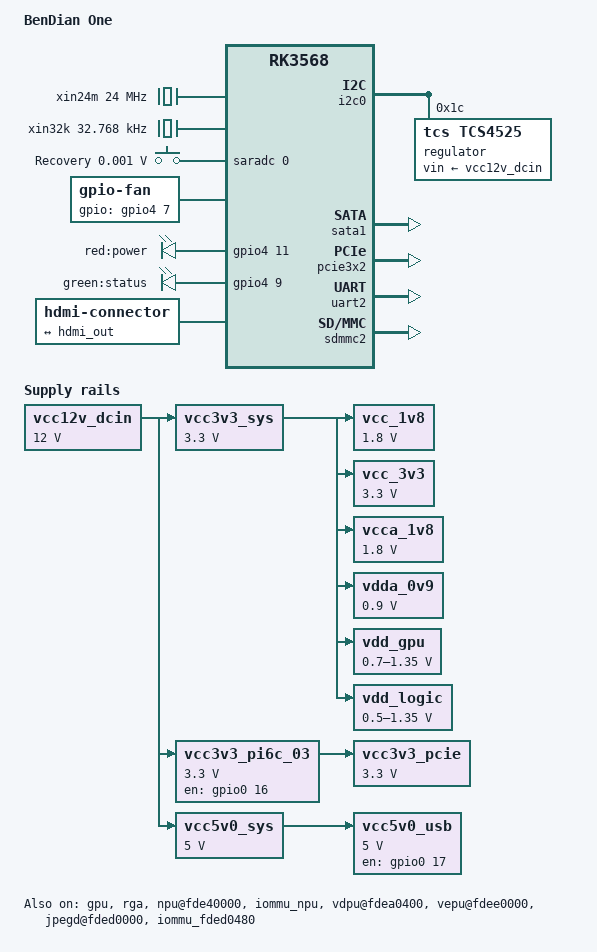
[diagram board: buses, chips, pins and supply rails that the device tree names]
// SPDX-License-Identifier: (GPL-2.0+ OR MIT)
/*
 * Copyright (c) 2024 hqnicolas <hqnicolas@msn.com>
 */

/dts-v1/;

#include <dt-bindings/gpio/gpio.h>
#include <dt-bindings/input/input.h>
#include <dt-bindings/pinctrl/rockchip.h>
#include <dt-bindings/soc/rockchip,vop2.h>
#include "rk3568.dtsi"

/ {
	interrupt-parent = <&gic>;
	#address-cells = <0x02>;
	#size-cells = <0x02>;
	compatible = "bendian,bd-one","rockchip,rk3568";
	model = "BenDian One";

	aliases {
		gpio0 = "/pinctrl/gpio@fdd60000";
		gpio1 = "/pinctrl/gpio@fe740000";
		gpio2 = "/pinctrl/gpio@fe750000";
		gpio3 = "/pinctrl/gpio@fe760000";
		gpio4 = "/pinctrl/gpio@fe770000";
		i2c0 = "/i2c@fdd40000";
		i2c1 = "/i2c@fe5a0000";
		i2c2 = "/i2c@fe5b0000";
		i2c3 = "/i2c@fe5c0000";
		i2c4 = "/i2c@fe5d0000";
		i2c5 = "/i2c@fe5e0000";
		serial0 = "/serial@fdd50000";
		serial1 = "/serial@fe650000";
		serial2 = "/serial@fe660000";
		serial3 = "/serial@fe670000";
		serial4 = "/serial@fe680000";
		serial5 = "/serial@fe690000";
		serial6 = "/serial@fe6a0000";
		serial7 = "/serial@fe6b0000";
		serial8 = "/serial@fe6c0000";
		serial9 = "/serial@fe6d0000";
		spi0 = "/spi@fe610000";
		spi1 = "/spi@fe620000";
		spi2 = "/spi@fe630000";
		spi3 = "/spi@fe640000";
		ethernet0 = "/ethernet@fe010000";
		mmc0 = "/mmc@fe310000";
		led-boot = "/gpio-leds/led-0";
		led-failsafe = "/gpio-leds/led-0";
		led-running = "/gpio-leds/led-0";
		led-upgrade = "/gpio-leds/led-0";
	};

	reserved-memory {
		#address-cells = <2>;
		#size-cells = <2>;
		ranges;

		rknpu: rknpu {
			compatible = "shared-dma-pool";
			reusable;
			size = <0x0 0x20000000>;
		};

		linux,cma {
			compatible = "shared-dma-pool";
			reusable;
			size = <0x0 0x10000000>;
			linux,cma-default;
		};

		ramoops@110000 {
			compatible = "ramoops";
			reg = <0x00 0x110000 0x00 0xf0000>;
			record-size = <0x20000>;
			console-size = <0x80000>;
			ftrace-size = <0x00>;
			pmsg-size = <0x50000>;
		};
	};

	cpus {
		#address-cells = <0x02>;
		#size-cells = <0x00>;
		cpu@0 {
			device_type = "cpu";
			compatible = "arm,cortex-a55";
			reg = <0x00 0x00>;
			clocks = <&scmi_clk 0>;
			#cooling-cells = <0x02>;
			enable-method = "psci";
			operating-points-v2 = <&opp_table0>;
			cpu-supply = <&vdd_cpu>;
		};
		cpu@100 {
			device_type = "cpu";
			compatible = "arm,cortex-a55";
			reg = <0x00 0x100>;
			#cooling-cells = <0x02>;
			enable-method = "psci";
			operating-points-v2 = <&opp_table0>;
			cpu-supply = <&vdd_cpu>;
		};
		cpu@200 {
			device_type = "cpu";
			compatible = "arm,cortex-a55";
			reg = <0x00 0x200>;
			#cooling-cells = <0x02>;
			enable-method = "psci";
			operating-points-v2 = <&opp_table0>;
			cpu-supply = <&vdd_cpu>;
		};
		cpu@300 {
			device_type = "cpu";
			compatible = "arm,cortex-a55";
			reg = <0x00 0x300>;
			#cooling-cells = <0x02>;
			enable-method = "psci";
			operating-points-v2 = <&opp_table0>;
			cpu-supply = <&vdd_cpu>;
		};
	};

	l3_cache: l3-cache {
		compatible = "cache";
		cache-level = <0x02>;
		cache-unified;
		cache-size = <0x80000>;
		cache-line-size = <0x40>;
	};

	opp_table0: opp-table-0 {
		compatible = "operating-points-v2";
		opp-shared;
		opp-408000000 {
			opp-hz = /bits/ 64 <408000000>;
			opp-microvolt = <900000 900000 1200000>;
			clock-latency-ns = <40000>;
		};
		opp-600000000 {
			opp-hz = /bits/ 64 <600000000>;
			opp-microvolt = <900000 900000 1200000>;
		};
		opp-816000000 {
			opp-hz = /bits/ 64 <816000000>;
			opp-microvolt = <900000 900000 1200000>;
			opp-suspend;
		};
		opp-1104000000 {
			opp-hz = /bits/ 64 <1104000000>;
			opp-microvolt = <900000 900000 1200000>;
		};
		opp-1416000000 {
			opp-hz = /bits/ 64 <1416000000>;
			opp-microvolt = <900000 900000 1200000>;
		};
		opp-1608000000 {
			opp-hz = /bits/ 64 <1608000000>;
			opp-microvolt = <950000 950000 1200000>;
		};
		opp-1800000000 {
			opp-hz = /bits/ 64 <1800000000>;
			opp-microvolt = <1050000 1050000 1200000>;
		};
		opp-1992000000 {
			opp-hz = /bits/ 64 <1992000000>;
			opp-microvolt = <1200000 1200000 1200000>;
		};
	};

	display-subsystem {
		compatible = "rockchip,display-subsystem";
		ports = <&vop_ports>;
	};

	firmware {
		scmi {
			compatible = "arm,scmi-smc";
			arm,smc-id = <0x82000010>;
			shmem = <&scmi_shmem>;
			#address-cells = <0x01>;
			#size-cells = <0x00>;
			protocol@14 {
				reg = <0x14>;
				#clock-cells = <0x01>;
			};
		};
	};

	opp_table1: opp-table-1 {
		compatible = "operating-points-v2";
		mbist-vmin = <820000 900000 950000>;
		rockchip,supported-hw;
		rockchip,max-volt = <1000000>;
		rockchip,temp-hysteresis = <5000>;
		rockchip,low-temp = <0>;
		rockchip,low-temp-adjust-volt = <0 1000 800000>;
		rockchip,pvtm-voltage-sel = <0 830000 0 830001 880000 1 880001 900000 2 900001 950000 3>;
		rockchip,pvtm-ch = <0 5>;
		opp-200000000 {
			opp-hz = /bits/64 <200000000>;
			opp-microvolt = <840000 840000 1000000>;
			opp-supported-hw = <0xfb 0xffff>;
		};
		opp-300000000 {
			opp-hz = /bits/64 <300000000>;
			opp-microvolt = <840000 840000 1000000>;
			opp-supported-hw = <0xfb 0xffff>;
		};
		opp-400000000 {
			opp-hz = /bits/64 <400000000>;
			opp-microvolt = <840000 840000 1000000>;
			opp-supported-hw = <0xfb 0xffff>;
		};
		opp-600000000 {
			opp-hz = /bits/64 <600000000>;
			opp-microvolt = <900000 900000 1000000>;
			opp-supported-hw = <0xfb 0xffff>;
			opp-microvolt-L0 = <900000 900000 1000000>;
			opp-microvolt-L1 = <870000 870000 1000000>;
			opp-microvolt-L2 = <840000 840000 1000000>;
			opp-microvolt-L3 = <840000 840000 1000000>;
		};
		opp-700000000 {
			opp-hz = /bits/64 <700000000>;
			opp-microvolt = <950000 950000 1000000>;
			opp-supported-hw = <0xfb 0xffff>;
			opp-microvolt-L0 = <950000 950000 1000000>;
			opp-microvolt-L1 = <920000 920000 1000000>;
			opp-microvolt-L2 = <900000 900000 1000000>;
			opp-microvolt-L3 = <870000 870000 1000000>;
		};
		opp-800000000 {
			opp-hz = /bits/64 <800000000>;
			opp-microvolt = <1000000 1000000 1000000>;
			opp-supported-hw = <0xf9 0xffff>;
			opp-microvolt-L0 = <1000000 1000000 1000000>;
			opp-microvolt-L1 = <950000 950000 1000000>;
			opp-microvolt-L2 = <950000 950000 1000000>;
			opp-microvolt-L3 = <920000 920000 1000000>;
		};
	};

	hdmi-sound {
		compatible = "simple-audio-card";
		simple-audio-card,name = "HDMI";
		simple-audio-card,format = "i2s";
		simple-audio-card,mclk-fs = <256>;
		status = "okay";
		simple-audio-card,codec {
			sound-dai = <&hdmi>;
		};
		simple-audio-card,cpu {
			sound-dai = <&i2s0_8ch>;
		};
	};

	pmu {
		compatible = "arm,cortex-a55-pmu";
		interrupts = <GIC_SPI 228 IRQ_TYPE_LEVEL_HIGH>,
			     <GIC_SPI 229 IRQ_TYPE_LEVEL_HIGH>,
			     <GIC_SPI 230 IRQ_TYPE_LEVEL_HIGH>,
			     <GIC_SPI 231 IRQ_TYPE_LEVEL_HIGH>;
		interrupt-affinity = <&cpu0>, <&cpu1>, <&cpu2>, <&cpu3>;
	};

	psci {
		compatible = "arm,psci-1.0";
		method = "smc";
	};

	timer {
		compatible = "arm,armv8-timer";
		interrupts = <GIC_PPI 13 (GIC_CPU_MASK_SIMPLE(4) | IRQ_TYPE_LEVEL_LOW)>,
			     <GIC_PPI 14 (GIC_CPU_MASK_SIMPLE(4) | IRQ_TYPE_LEVEL_LOW)>,
			     <GIC_PPI 11 (GIC_CPU_MASK_SIMPLE(4) | IRQ_TYPE_LEVEL_LOW)>,
			     <GIC_PPI 10 (GIC_CPU_MASK_SIMPLE(4) | IRQ_TYPE_LEVEL_LOW)>;
		arm,no-tick-in-suspend;
	};

	xin24m {
		compatible = "fixed-clock";
		clock-frequency = <24000000>;
		clock-output-names = "xin24m";
		#clock-cells = <0x00>;
	};

	xin32k {
		compatible = "fixed-clock";
		clock-frequency = <32768>;
		pinctrl-0 = <&clk32k_in>;
		pinctrl-names = "default";
		#clock-cells = <0x00>;
	};

	sram@10f000 {
		compatible = "mmio-sram";
		reg = <0x00 0x10f000 0x00 0x100>;
		#address-cells = <0x01>;
		#size-cells = <0x01>;
		ranges = <0x00 0x00 0x10f000 0x100>;
		scmi_shmem: sram@0 {
			compatible = "arm,scmi-shmem";
			reg = <0x00 0x100>;
		};
	};

	npu@fde40000 {
		compatible = "rockchip,rk3568-rknpu", "rockchip,rknpu";
		reg = <0x0 0xfde40000 0x0 0x10000>;
		interrupts = <GIC_SPI 151 IRQ_TYPE_LEVEL_HIGH>;
		clocks = <&scmi_clk 2>, <&cru CLK_NPU>, <&cru ACLK_NPU>, <&cru HCLK_NPU>;
		clock-names = "scmi_clk", "clk", "aclk", "hclk";
		assigned-clocks = <&cru CLK_NPU>;
		assigned-clock-rates = <600000000>;
		resets = <&cru SRST_NPU_A>, <&cru SRST_NPU_H>;
		reset-names = "srst_a", "srst_h";
		power-domains = <&power RK3568_PD_NPU>;
		iommus = <&iommu_npu>;
		iommu-cells = <0>;
		memory-region = <&rknpu>;
		status = "okay";
	};

	iommu_npu: iommu@fde4b0000 {
		compatible = "rockchip,rk3568-iommu";
		reg = <0x0 0xfde4b000 0x0 0x40>;
		interrupts = <GIC_SPI 150 IRQ_TYPE_LEVEL_HIGH>;
		clocks = <&cru ACLK_NPU>, <&cru HCLK_NPU>;
		clock-names = "aclk", "iface";
		power-domains = <&power RK3568_PD_NPU>;
		#iommu-cells = <0>;
		status = "okay";
	};

	vdpu@fdea0400 {
		compatible = "rockchip,rk3568-vdpu";
		reg = <0x0 0xfdea0400 0x0 0x4000>;
		interrupts = <GIC_SPI 139 IRQ_TYPE_LEVEL_HIGH>;
		clocks = <&cru CLK_VDPU>, <&cru CLK_VDPU_AXI>;
		clock-names = "core", "axi";
		power-domains = <&power RK3568_PD_VCODEC>;
		iommus = <&iommu@fdea0800>;
		iommu-cells = <0>;
		status = "okay";
	};

	vepu@fdee0000 {
		compatible = "rockchip,rk3568-vepu";
		reg = <0x0 0xfdee0000 0x0 0x10000>;
		interrupts = <GIC_SPI 140 IRQ_TYPE_LEVEL_HIGH>;
		clocks = <&cru CLK_VEPU>, <&cru CLK_VEPU_AXI>;
		clock-names = "core", "axi";
		power-domains = <&power RK3568_PD_VCODEC>;
		iommus = <&iommu@fdee0800>;
		iommu-cells = <0>;
		status = "okay";
	};

	jpegd@fded0000 {
		compatible = "rockchip,rk3568-jpeg-dec";
		reg = <0x0 0xfded0000 0x0 0x400>;
		interrupts = <GIC_SPI 62 IRQ_TYPE_LEVEL_HIGH>;
		clocks = <&cru CLK_JPEGD>, <&cru CLK_JPEGD_AXI>;
		clock-names = "aclk", "hclk";
		resets = <&cru RST_JPEGD_A>, <&cru RST_JPEGD_H>;
		reset-names = "core", "axi";
		power-domains = <&power RK3568_PD_VCODEC>;
		iommus = <&iommu_fded0480>;
		status = "okay";
	};

	iommu_fded0480: iommu@fded0480 {
		compatible = "rockchip,rk3568-iommu";
		reg = <0x0 0xfded0480 0x0 0x40>;
		interrupts = <GIC_SPI 61 IRQ_TYPE_LEVEL_HIGH>;
		clocks = <&cru CLK_JPEGD>, <&cru CLK_JPEGD_AXI>;
		clock-names = "aclk", "iface";
		power-domains = <&power RK3568_PD_VCODEC>;
		#iommu-cells = <0>;
		status = "okay";
	};

	chosen {
		stdout-path = "serial2:1500000n8";
	};

	adc-keys {
		compatible = "adc-keys";
		io-channels = <&saradc 0>;
		io-channel-names = "buttons";
		keyup-threshold-microvolt = <1800000>;
		poll-interval = <100>;
		button-recovery {
			label = "Recovery";
			linux,code = <KEY_RECOVERY>;
			press-threshold-microvolt = <1000>;
		};
	};

	gpio-fan {
		compatible = "gpio-fan";
		gpios = <&gpio4 7 GPIO_ACTIVE_HIGH>;
		gpio-fan,speed-map = <0 0  700 1>;
		#cooling-cells = <2>;
		pinctrl-0 = <&fan_pins>;
		pinctrl-names = "default";
	};

	gpio-leds {
		compatible = "gpio-leds";
		pinctrl-names = "default";
		pinctrl-0 = <&power_led_pins &status_led_pins>;
		led-0 {
			label = "red:power";
			gpios = <&gpio4 11 GPIO_ACTIVE_HIGH>;
		};
		led-1 {
			label = "green:status";
			gpios = <&gpio4 9 GPIO_ACTIVE_HIGH>;
			linux,default-trigger = "heartbeat";
		};
	};

	hdmi-con {
		compatible = "hdmi-connector";
		type = "a";
		port {
			endpoint {
				remote-endpoint = <&hdmi_out>;
			};
		};
	};

	vcc12v-dcin {
		compatible = "regulator-fixed";
		regulator-always-on;
		regulator-boot-on;
		regulator-min-microvolt = <12000000>;
		regulator-max-microvolt = <12000000>;
		regulator-name = "vcc12v_dcin";
	};

	vcc3v3-sys {
		compatible = "regulator-fixed";
		regulator-name = "vcc3v3_sys";
		regulator-always-on;
		regulator-boot-on;
		regulator-min-microvolt = <3300000>;
		regulator-max-microvolt = <3300000>;
		vin-supply = <&vcc12v_dcin>;
	};

	vcc3v3-pi6c-03 {
		compatible = "regulator-fixed";
		enable-active-high;
		gpios = <&gpio0 16 GPIO_ACTIVE_HIGH>;
		pinctrl-names = "default";
		pinctrl-0 = <&ssd_pwr_en>;
		regulator-name = "vcc3v3_pi6c_03";
		regulator-min-microvolt = <3300000>;
		regulator-max-microvolt = <3300000>;
		vin-supply = <&vcc12v_dcin>;
	};

	vcc3v3-pcie {
		compatible = "regulator-fixed";
		regulator-name = "vcc3v3_pcie";
		regulator-always-on;
		regulator-boot-on;
		regulator-min-microvolt = <3300000>;
		regulator-max-microvolt = <3300000>;
		vin-supply = <&vcc3v3_pi6c_03>;
	};

	vcc5v0-sys {
		compatible = "regulator-fixed";
		regulator-name = "vcc5v0_sys";
		regulator-always-on;
		regulator-boot-on;
		regulator-min-microvolt = <5000000>;
		regulator-max-microvolt = <5000000>;
		vin-supply = <&vcc12v_dcin>;
	};

	vcc5v0-usb {
		compatible = "regulator-fixed";
		enable-active-high;
		gpio = <&gpio0 17 GPIO_ACTIVE_HIGH>;
		pinctrl-names = "default";
		pinctrl-0 = <&usb_pwr_en>;
		regulator-min-microvolt = <5000000>;
		regulator-max-microvolt = <5000000>;
		regulator-name = "vcc5v0_usb";
		vin-supply = <&vcc5v0_sys>;
	};

	vcc-1v8 {
		compatible = "regulator-fixed";
		regulator-name = "vcc_1v8";
		regulator-always-on;
		regulator-boot-on;
		regulator-min-microvolt = <1800000>;
		regulator-max-microvolt = <1800000>;
		vin-supply = <&vcc3v3_sys>;
	};

	vcc-3v3 {
		compatible = "regulator-fixed";
		regulator-name = "vcc_3v3";
		regulator-always-on;
		regulator-boot-on;
		regulator-min-microvolt = <3300000>;
		regulator-max-microvolt = <3300000>;
		vin-supply = <&vcc3v3_sys>;
	};

	vcca-1v8 {
		compatible = "regulator-fixed";
		regulator-name = "vcca_1v8";
		regulator-always-on;
		regulator-boot-on;
		regulator-min-microvolt = <1800000>;
		regulator-max-microvolt = <1800000>;
		vin-supply = <&vcc3v3_sys>;
	};

	vdda-0v9 {
		compatible = "regulator-fixed";
		regulator-name = "vdda_0v9";
		regulator-always-on;
		regulator-boot-on;
		regulator-min-microvolt = <900000>;
		regulator-max-microvolt = <900000>;
		vin-supply = <&vcc3v3_sys>;
	};

	vdd-gpu {
		compatible = "pwm-regulator";
		pwms = <&pwm4 0 100000 1>;
		pwm-supply = <&vcc3v3_sys>;
		regulator-name = "vdd_gpu";
		regulator-always-on;
		regulator-boot-on;
		regulator-init-microvolt = <900000>;
		regulator-min-microvolt = <700000>;
		regulator-max-microvolt = <1350000>;
		regulator-ramp-delay = <6000>;
		regulator-settling-time-up-us = <250>;
	};

	vdd-logic {
		compatible = "pwm-regulator";
		pwms = <&pwm5 0 100000 1>;
		pwm-supply = <&vcc3v3_sys>;
		regulator-name = "vdd_logic";
		regulator-always-on;
		regulator-boot-on;
		regulator-init-microvolt = <900000>;
		regulator-min-microvolt = <500000>;
		regulator-max-microvolt = <1350000>;
		regulator-ramp-delay = <6000>;
		regulator-settling-time-up-us = <250>;
	};
};

&i2c0 {
	status = "okay";
	regulator@1c {
		compatible = "tcs,tcs4525";
		reg = <0x1c>;
		fcs,suspend-voltage-selector = <1>;
		regulator-name = "vdd_cpu";
		regulator-always-on;
		regulator-boot-on;
		regulator-init-microvolt = <900000>;
		regulator-min-microvolt = <700000>;
		regulator-max-microvolt = <1400000>;
		regulator-ramp-delay = <2300>;
		vin-supply = <&vcc12v_dcin>;
		regulator-state-mem {
			regulator-off-in-suspend;
		};
	};
};

&sata0 {
	status = "disabled";
};

&sata1 {
	status = "okay";
};

&pcie3x2 {
	status = "okay";
};

&gpu {
	status = "okay";
};

&iommu@fdea0800 {
	status = "okay";
};

&iommu@fdee0800 {
	status = "okay";
};

&rga {
	status = "okay";
};

&uart2 {
	status = "okay";
};

&sdmmc2 {
	status = "okay";
};

#include "rk3568-vngpu.dtsi"
#include "rk3568-vngpu-rk809.dtsi"
#include "rk3568-ramoops.dtsi"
